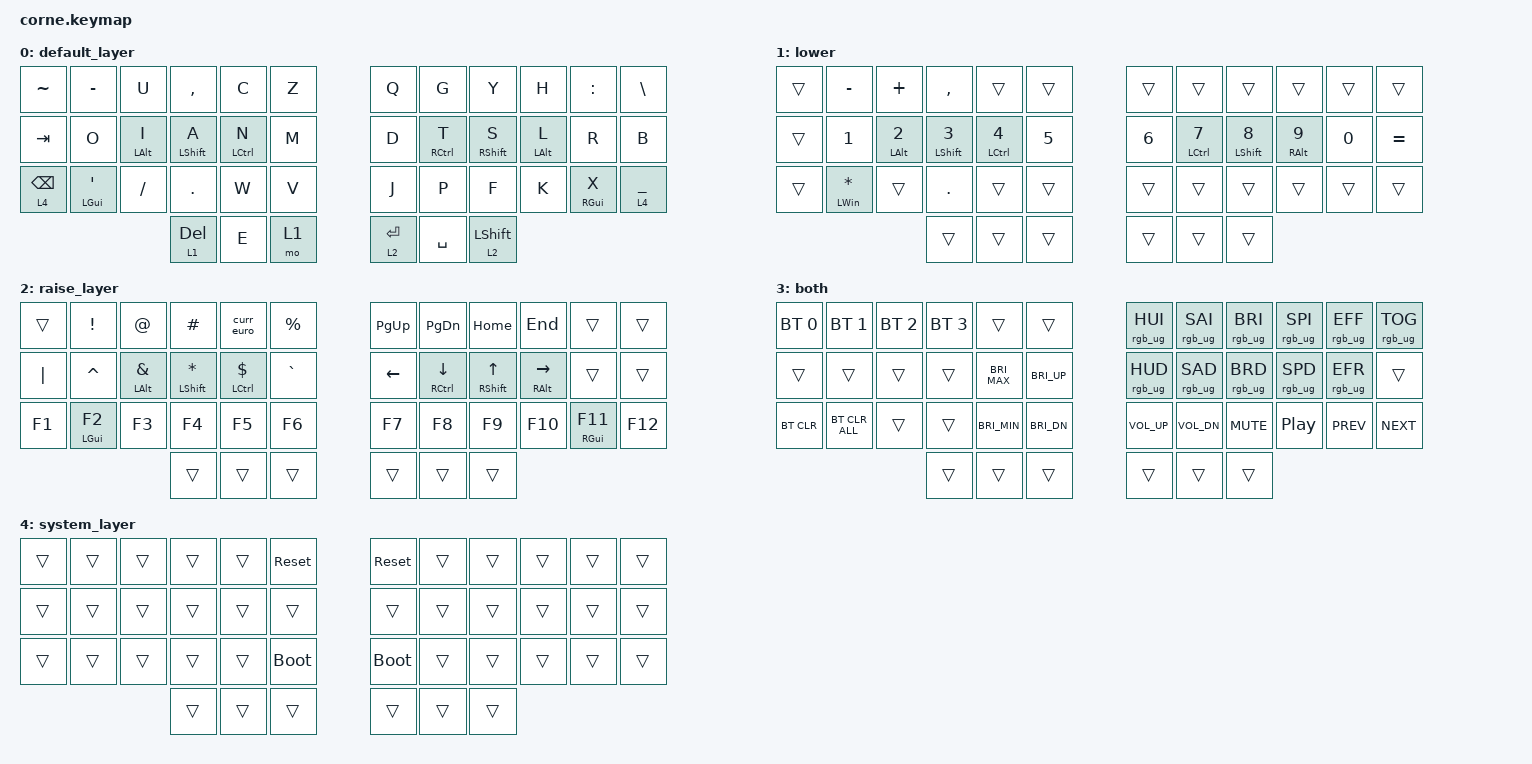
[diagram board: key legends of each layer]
/*
* Copyright (c) 2020 The ZMK Contributors
*
* SPDX-License-Identifier: MIT
*/

#include <behaviors.dtsi>
#include <dt-bindings/zmk/bt.h>
#include <dt-bindings/zmk/keys.h>
#include <dt-bindings/zmk/outputs.h>
#include <dt-bindings/zmk/rgb.h>

#define HOST_OS 1
#include "zmk-helpers/helper.h"
#include "zmk-helpers/key-labels/42.h"
#include "zmk-helpers/unicode-chars/german.dtsi"
#include "zmk-helpers/unicode-chars/currency.dtsi"

#define KEYS_L LT0 LT1 LT2 LT3 LT4 LT5 LM0 LM1 LM2 LM3 LM4 LM5 LB0 LB1 LB2 LB3 LB4 LB5
#define KEYS_R RT0 RT1 RT2 RT3 RT4 RT5 RM0 RM1 RM2 RM3 RM4 RM5 RB0 RB1 RB2 RB3 RB4 RB5
#define THUMBS LH0 LH1 LH2 RH0 RH1 RH2
#define QUICK_TAP_MS 175

#define MAKE_HRM(NAME, HOLD, TAP, TRIGGER_POS)  \
ZMK_HOLD_TAP(NAME, bindings = <HOLD>, <TAP>; flavor = "balanced"; \
tapping-term-ms = <280>; quick-tap-ms = <QUICK_TAP_MS>; \
require-prior-idle-ms = <150>; hold-trigger-on-release; \
hold-trigger-key-positions = <TRIGGER_POS>;)

MAKE_HRM(hml, &kp, &kp, KEYS_R THUMBS) // Left-hand HRMs.
MAKE_HRM(hmr, &kp, &kp, KEYS_L THUMBS) // Right-hand HRMs.

/ {
	combos {
		compatible = "zmk,combos";

		left_parenthesis {
			bindings = <&kp LEFT_PARENTHESIS>;
			key-positions = <2 3>;
		};

		left_bracket {
			bindings = <&kp LEFT_BRACKET>;
			key-positions = <14 15>;
			timeout-ms = <50>;
		};

		left_curly_braces {
			bindings = <&kp LEFT_BRACE>;
			key-positions = <26 27>;
		};

		right_parenthesis {
			bindings = <&kp RIGHT_PARENTHESIS>;
			key-positions = <8 9>;
		};

		right_bracket {
			bindings = <&kp RIGHT_BRACKET>;
			key-positions = <20 21>;
			timeout-ms = <50>;
		};

		right_braces {
			bindings = <&kp RIGHT_BRACE>;
			key-positions = <33 32>;
		};

		escape {
			bindings = <&kp ESCAPE>;
			key-positions = <31 32>;
			timeout-ms = <50>;
		};

		LessThan {
			bindings = <&kp LT>;
			key-positions = <4 3>;
		};

		GreatherThan {
			bindings = <&kp GT>;
			key-positions = <7 8>;
		};

		paste {
			bindings = <&kp LC(V)>;
			key-positions = <16 17>;
		};

		cut {
			bindings = <&kp LC(X)>;
			key-positions = <29 28>;
		};

		capslock {
			bindings = <&kp CAPS>;
			key-positions = <34 35>;
		};

		paste_history {
			bindings = <&kp LC(TILDE)>;
			key-positions = <17 16 14 15>;
		};

		copy {
			bindings = <&kp LC(C)>;
			key-positions = <28 27>;
		};

		terminal_paste {
			bindings = <&kp LS(LC(V))>;
			key-positions = <17 16 15>;
		};

		apostrophe {
			bindings = <&kp DOUBLE_QUOTES>;
			key-positions = <25 26>;
		};

		colon {
			bindings = <&kp SEMICOLON>;
			key-positions = <10 23>;
		};

		combo_a_umlaut {
			bindings = <&de_ae>;
			key-positions = <15 35>;
		};

		combo_u_umlaut {
			bindings = <&de_ue>;
			key-positions = <35 2>;
		};

		combo_esset {
			bindings = <&de_eszett>;
			key-positions = <20 35>;
		};


		combo_o_umlaut {
			bindings = <&de_oe>;
			key-positions = <13 35>;
		};

		caps_word {
			bindings = <&caps_word>;
			key-positions = <41 35>;
		};
	};

	behaviors {
		// Sticky Key with Quick Release to avoid multiple activations
		skq: sticky_key_quick_release {
			compatible = "zmk,behavior-sticky-key";
			label = "STICKY_KEY_QUICK_RELEASE";
			#binding-cells = <1>;
			bindings = <&kp>;
			release-after-ms = <1000>;
			quick-release;
		};

		layer_or_keypress: layer_or_keypress {
			compatible = "zmk,behavior-hold-tap";
			label = "LAYER_OR_KEYPRESS";
			bindings = <&mo>, <&kp>;

			#binding-cells = <2>;
			tapping-term-ms = <200>;
			quick-tap-ms = <300>;
			require-prior-idle-ms = <0>;
			flavor = "balanced";
		};

		sticky_key_or_change_layer: sticky_key_or_change_layer {
			compatible = "zmk,behavior-hold-tap";
			label = "STICKY_KEY_OR_CHANGE_LAYER";
			bindings = <&tog>, <&skq>;

			#binding-cells = <2>;
			tapping-term-ms = <200>;
			flavor = "tap-preferred";
		};

		tap_or_chage_layer: tap_or_chage_layer {
			compatible = "zmk,behavior-hold-tap";
			label = "TAP_OR_CHAGE_LAYER";
			bindings = <&tog>, <&kp>;

			#binding-cells = <2>;
			flavor = "tap-preferred";
			tapping-term-ms = <200>;
			quick-tap-ms = <200>;
		};
	};

	keymap {
		compatible = "zmk,keymap";

		default_layer {
			bindings = <
				&kp TILDE &kp MINUS &kp U &kp COMMA &kp C &kp Z &kp Q &kp G &kp Y  &kp H &kp COLON &kp BACKSLASH
				&kp TAB &kp O &hml LEFT_ALT I &hml LSHIFT A &hml LCTRL N &kp M &kp D &hmr RCTRL T &hmr RSHFT S &hmr LEFT_ALT L &kp R &kp B
				&layer_or_keypress 4 BACKSPACE &hml LGUI SQT &kp SLASH &kp DOT &kp W &kp V &kp J &kp P &kp F  &kp K &hmr RGUI X &layer_or_keypress 4 UNDER
				&tap_or_chage_layer 1 DELETE &kp E &mo 1 &layer_or_keypress 2 ENTER &kp SPACE &sticky_key_or_change_layer 2 LEFT_SHIFT
			>;
		};

		lower {
			bindings = <
				&trans &kp MINUS &kp PLUS &kp COMMA &trans  &trans &trans &trans &trans &trans &trans &trans
				&trans &kp NUMBER_1 &hml LEFT_ALT NUMBER_2 &hml LEFT_SHIFT NUMBER_3 &hml LEFT_CONTROL NUMBER_4 &kp N5 &kp NUMBER_6 &hmr LEFT_CONTROL N7 &hmr LEFT_SHIFT N8 &hmr RIGHT_ALT N9 &kp N0 &kp EQUAL
				&trans &hml LEFT_WIN ASTERISK &trans &kp DOT  &trans  &trans &trans &trans &trans &trans &trans &trans
				&trans  &trans  &trans &trans &trans &trans
			>;
		};

		raise_layer {
			bindings = <
				&trans &kp EXCL &kp AT &kp HASH &curr_euro &kp PRCNT &kp PG_UP &kp PAGE_DOWN &kp HOME &kp END &trans &trans
				&kp PIPE &kp CARET &hml LEFT_ALT AMPS &hml LSHFT ASTERISK &hml LCTRL DOLLAR &kp GRAVE &kp LEFT_ARROW &hmr RCTRL DOWN &hmr RSHFT UP &hmr RIGHT_ALT RIGHT &trans &trans
				&kp F1 &hml LGUI F2 &kp F3 &kp F4 &kp F5 &kp F6 &kp F7 &kp F8 &kp F9 &kp F10 &hmr RGUI F11 &kp F12
				&trans &trans &trans &trans &trans &trans
			>;
		};

		both {
			bindings = <
				&bt BT_SEL 0 &bt BT_SEL 1 &bt BT_SEL 2 &bt BT_SEL 3 &trans &trans &rgb_ug RGB_HUI &rgb_ug RGB_SAI &rgb_ug RGB_BRI &rgb_ug RGB_SPI &rgb_ug RGB_EFF &rgb_ug RGB_TOG
				&trans &trans &trans &trans &kp C_BRI_MAX &kp C_BRI_UP &rgb_ug RGB_HUD &rgb_ug RGB_SAD &rgb_ug RGB_BRD &rgb_ug RGB_SPD &rgb_ug RGB_EFR &trans
				&bt BT_CLR &bt BT_CLR_ALL &trans &trans &kp C_BRI_MIN &kp C_BRI_DN &kp C_VOL_UP &kp C_VOL_DN &kp K_MUTE &kp C_PLAY_PAUSE &kp C_PREV &kp C_NEXT
				&trans &trans &trans &trans &trans &trans
			>;
		};

		system_layer {
			bindings = <
				&trans &trans &trans &trans &trans &sys_reset &sys_reset &trans &trans &trans &trans &trans
				&trans &trans &trans &trans &trans &trans &trans &trans &trans &trans &trans &trans
				&trans &trans &trans &trans &trans &bootloader &bootloader &trans &trans &trans &trans &trans
				&trans &trans &trans &trans &trans &trans
			>;
		};
	};

	conditional_layers {
		compatible = "zmk,conditional-layers";

		tri_layer {
			if-layers = <1 2>;
			then-layer = <3>;
		};
	};
};
